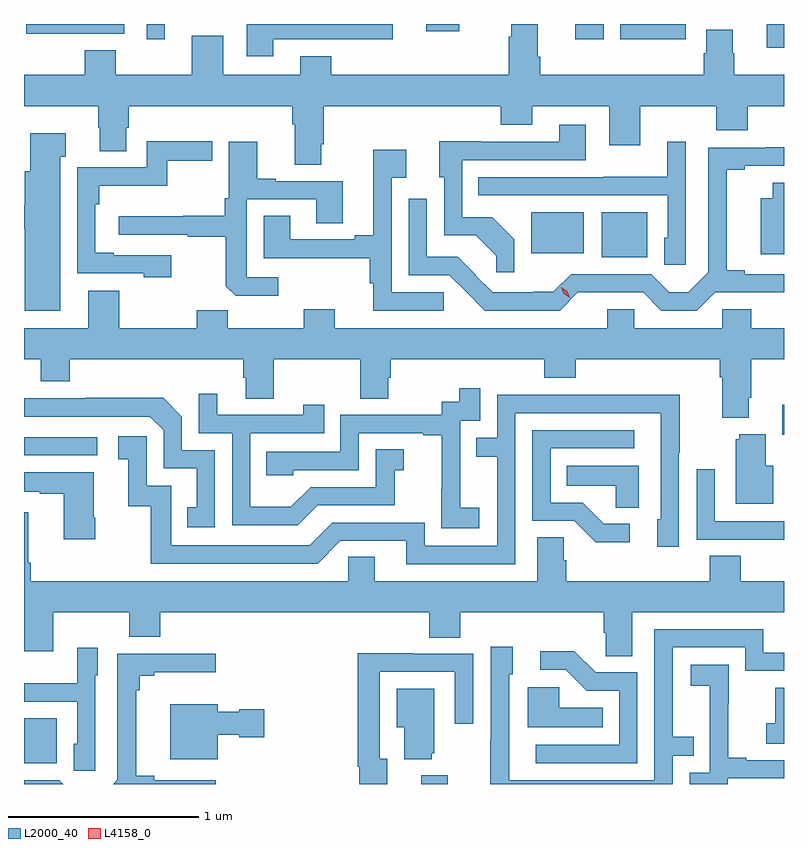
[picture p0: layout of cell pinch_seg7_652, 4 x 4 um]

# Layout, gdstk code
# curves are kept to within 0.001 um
import gdstk
lib = gdstk.Library(unit=1e-6, precision=1e-09)
def R(c, l, rs):  # rectangles x0, y0, x1, y1
    for r in rs: c.add(gdstk.rectangle(r[:2], r[2:], *l))
def P(c, l, *ps):  # polygons
    for p in ps: c.add(gdstk.Polygon(p, *l))
L2000_40 = (2000, 40)
L4158_0 = (4158, 0)

pinch_seg7_652 = lib.new_cell('pinch_seg7_652')
R(pinch_seg7_652, L2000_40, [(219.839,1031.68,219.979,1031.725), (217.749,1031.789,217.921,1032.025), (217.749,1033.41,218.134,1033.506), (221.741,1033.519,221.749,1033.675), (220.79,1034.453,221.029,1034.689), (220.418,1034.474,220.696,1034.689), (221.657,1035.554,221.749,1035.68), (220.887,1035.599,221.232,1035.68), (218.394,1035.6,218.491,1035.68), (220.649,1035.6,220.8,1035.68), (219.867,1035.642,220.039,1035.68)])
P(pinch_seg7_652, L2000_40, [(219.313,1035.046),(219.326,1035.046),(219.326,1035.248),(220.259,1035.248),(220.259,1035.149),(220.423,1035.149),(220.423,1035.248),(220.829,1035.248),(220.829,1035.042),(220.993,1035.042),(220.993,1035.248),(221.393,1035.248),(221.393,1035.12),(221.557,1035.12),(221.557,1035.248),(221.749,1035.248),(221.749,1035.412),(221.487,1035.412),(221.487,1035.525),(221.479,1035.525),(221.479,1035.65),(221.339,1035.65),(221.339,1035.525),(221.327,1035.525),(221.327,1035.412),(220.466,1035.412),(220.466,1035.508),(220.453,1035.508),(220.453,1035.68),(220.313,1035.68),(220.313,1035.614),(220.301,1035.614),(220.301,1035.412),(219.367,1035.412),(219.367,1035.511),(219.203,1035.511),(219.203,1035.412),(218.797,1035.412),(218.797,1035.619),(218.633,1035.619),(218.633,1035.412),(218.233,1035.412),(218.233,1035.541),(218.069,1035.541),(218.069,1035.412),(217.749,1035.412),(217.749,1035.248),(218.14,1035.248),(218.14,1035.135),(218.147,1035.135),(218.147,1035.01),(218.287,1035.01),(218.287,1035.135),(218.3,1035.135),(218.3,1035.248),(219.161,1035.248),(219.161,1035.152),(219.173,1035.152),(219.173,1034.938),(219.313,1034.938)],
  [(217.973,1035.63),(218.277,1035.63),(218.277,1035.68),(217.761,1035.68),(217.761,1035.629),(217.973,1035.629)],
  [(219.061,1035.6),(219.473,1035.6),(219.473,1035.599),(219.691,1035.599),(219.691,1035.68),(218.921,1035.68),(218.921,1035.51),(219.061,1035.51)],
  [(220.329,1034.548),(220.213,1034.664),(220.056,1034.664),(220.056,1034.964),(220.705,1034.964),(220.705,1035.151),(220.565,1035.151),(220.565,1035.06),(220.153,1035.06),(220.153,1035.062),(219.935,1035.062),(219.935,1034.874),(219.96,1034.874),(219.96,1034.568),(220.126,1034.568),(220.234,1034.46),(220.234,1034.373),(220.329,1034.373)],
  [(217.939,1034.981),(217.969,1034.981),(217.969,1035.106),(217.781,1035.106),(217.781,1034.904),(217.754,1034.904),(217.754,1034.725),(217.749,1034.725),(217.749,1034.603),(217.754,1034.603),(217.754,1034.171),(217.939,1034.171)],
  [(218.524,1034.463),(218.221,1034.463),(218.221,1034.476),(218.124,1034.476),(218.124,1034.732),(218.144,1034.732),(218.144,1034.828),(218.503,1034.828),(218.503,1034.959),(218.74,1034.959),(218.74,1035.062),(218.394,1035.062),(218.394,1034.925),(218.028,1034.925),(218.028,1034.367),(218.379,1034.367),(218.379,1034.348),(218.524,1034.348)],
  [(221.232,1035.061),(221.135,1035.061),(221.135,1034.875),(220.801,1034.875),(220.801,1034.874),(220.141,1034.874),(220.141,1034.778),(221.136,1034.778),(221.136,1034.556),(221.12,1034.556),(221.12,1034.413),(221.232,1034.413)],
  [(219.088,1034.346),(218.922,1034.346),(218.922,1034.757),(219.287,1034.757),(219.287,1034.632),(219.427,1034.632),(219.427,1034.853),(219.073,1034.853),(219.073,1034.866),(218.977,1034.866),(218.977,1035.061),(218.826,1035.061),(218.826,1034.764),(218.806,1034.764),(218.806,1034.672),(218.587,1034.672),(218.587,1034.668),(218.247,1034.668),(218.247,1034.571),(218.611,1034.571),(218.611,1034.559),(218.811,1034.559),(218.811,1034.301),(218.863,1034.25),(219.088,1034.25)],
  [(220.664,1034.267),(221.007,1034.268),(221.103,1034.172),(221.29,1034.172),(221.386,1034.268),(221.749,1034.267),(221.749,1034.364),(221.542,1034.364),(221.542,1034.384),(221.447,1034.384),(221.447,1034.914),(221.542,1034.914),(221.542,1034.934),(221.749,1034.934),(221.749,1035.032),(221.653,1035.032),(221.653,1035.03),(221.349,1035.03),(221.349,1034.373),(221.245,1034.269),(221.144,1034.269),(221.049,1034.364),(220.629,1034.364),(220.535,1034.27),(220.43,1034.27),(220.43,1034.268),(220.215,1034.268),(220.125,1034.358),(220.127,1034.36),(220.033,1034.454),(219.87,1034.454),(219.87,1034.761),(219.774,1034.761),(219.774,1034.358),(219.987,1034.358),(220.175,1034.172),(220.569,1034.172)],
  [(219.957,1034.268),(219.684,1034.268),(219.684,1034.87),(219.76,1034.87),(219.76,1035.019),(219.587,1035.019),(219.587,1034.567),(219.491,1034.567),(219.491,1034.547),(219.151,1034.547),(219.151,1034.672),(219.011,1034.672),(219.011,1034.446),(219.568,1034.446),(219.568,1034.315),(219.587,1034.315),(219.587,1034.172),(219.957,1034.172)],
  [(221.749,1034.845),(221.69,1034.845),(221.69,1034.764),(221.627,1034.764),(221.627,1034.468),(221.749,1034.468)],
  [(221.563,1033.714),(221.576,1033.714),(221.576,1033.916),(221.749,1033.916),(221.749,1034.08),(221.576,1034.08),(221.576,1034.178),(221.424,1034.178),(221.424,1034.08),(220.962,1034.08),(220.962,1034.178),(220.82,1034.178),(220.82,1034.08),(219.385,1034.08),(219.385,1034.179),(219.221,1034.179),(219.221,1034.08),(218.821,1034.08),(218.821,1034.173),(218.657,1034.173),(218.657,1034.08),(218.251,1034.08),(218.251,1034.275),(218.087,1034.275),(218.087,1034.08),(217.749,1034.08),(217.749,1033.916),(217.838,1033.916),(217.838,1033.799),(217.991,1033.799),(217.991,1033.916),(218.903,1033.916),(218.903,1033.818),(218.915,1033.818),(218.915,1033.708),(219.063,1033.708),(219.063,1033.916),(219.52,1033.916),(219.52,1033.708),(219.667,1033.708),(219.667,1033.818),(219.68,1033.818),(219.68,1033.916),(220.487,1033.916),(220.487,1033.817),(220.652,1033.817),(220.652,1033.916),(221.411,1033.916),(221.411,1033.82),(221.423,1033.82),(221.423,1033.607),(221.563,1033.607)],
  [(220.144,1033.135),(220.046,1033.135),(220.046,1033.364),(220.044,1033.364),(220.044,1033.593),(220.149,1033.593),(220.149,1033.762),(220.041,1033.762),(220.041,1033.692),(219.948,1033.692),(219.948,1033.623),(219.414,1033.623),(219.414,1033.428),(219.025,1033.428),(219.025,1033.305),(219.165,1033.305),(219.165,1033.332),(219.51,1033.332),(219.51,1033.527),(219.851,1033.527),(219.851,1033.515),(219.947,1033.515),(219.947,1033.231),(219.946,1033.231),(219.946,1033.025),(220.144,1033.025)],
  [(219.295,1033.146),(219.699,1033.146),(219.699,1033.331),(219.748,1033.331),(219.748,1033.441),(219.6,1033.441),(219.6,1033.242),(219.258,1033.242),(219.154,1033.138),(218.94,1033.138),(218.94,1033.527),(219.329,1033.527),(219.329,1033.675),(219.218,1033.675),(219.218,1033.623),(218.767,1033.623),(218.767,1033.735),(218.67,1033.735),(218.67,1033.527),(218.844,1033.527),(218.844,1033.041),(219.19,1033.041)],
  [(220.335,1033.632),(221.1,1033.632),(221.1,1033.074),(221.081,1033.074),(221.081,1032.93),(221.196,1032.93),(221.196,1033.423),(221.199,1033.423),(221.199,1033.73),(220.735,1033.73),(220.735,1033.728),(220.239,1033.728),(220.239,1033.503),(220.129,1033.503),(220.129,1033.402),(220.239,1033.402),(220.239,1032.933),(219.858,1032.933),(219.858,1033.056),(219.372,1033.056),(219.252,1032.936),(218.523,1032.936),(218.523,1033.251),(218.394,1033.251),(218.394,1033.51),(218.244,1033.51),(218.244,1033.389),(218.297,1033.389),(218.297,1033.143),(218.415,1033.143),(218.415,1032.84),(219.294,1032.84),(219.414,1032.96),(219.761,1032.96),(219.761,1032.837),(220.335,1032.837)],
  [(218.754,1033.437),(218.58,1033.437),(218.58,1033.614),(218.482,1033.712),(218.074,1033.712),(218.074,1033.71),(217.749,1033.71),(217.749,1033.614),(218.412,1033.614),(218.484,1033.542),(218.484,1033.341),(218.657,1033.341),(218.657,1033.137),(218.608,1033.137),(218.608,1033.032),(218.754,1033.032)],
  [(220.936,1033.05),(220.801,1033.05),(220.69,1033.161),(220.521,1033.161),(220.521,1033.446),(220.96,1033.446),(220.96,1033.542),(220.425,1033.542),(220.425,1033.065),(220.644,1033.065),(220.757,1032.953),(220.936,1032.953)],
  [(221.692,1033.354),(221.653,1033.354),(221.653,1033.522),(221.514,1033.522),(221.514,1033.494),(221.495,1033.494),(221.495,1033.154),(221.692,1033.154)],
  [(220.984,1033.354),(220.606,1033.354),(220.606,1033.25),(220.863,1033.25),(220.863,1033.135),(220.984,1033.135)],
  [(221.749,1033.062),(221.385,1033.062),(221.385,1033.336),(221.289,1033.336),(221.289,1032.966),(221.605,1032.966),(221.605,1032.965),(221.749,1032.965)],
  [(218.124,1033.081),(218.116,1033.081),(218.116,1033.321),(217.749,1033.321),(217.749,1033.217),(217.832,1033.217),(217.832,1033.207),(217.958,1033.207),(217.958,1032.969),(218.124,1032.969)],
  [(220.951,1032.584),(221.749,1032.584),(221.749,1032.748),(221.522,1032.748),(221.522,1032.881),(221.357,1032.881),(221.357,1032.748),(220.604,1032.748),(220.604,1032.857),(220.59,1032.857),(220.59,1032.98),(220.451,1032.98),(220.451,1032.748),(219.595,1032.748),(219.595,1032.875),(219.456,1032.875),(219.456,1032.748),(217.784,1032.748),(217.784,1032.844),(217.771,1032.844),(217.771,1033.111),(217.749,1033.111),(217.749,1032.378),(217.903,1032.378),(217.903,1032.584),(218.303,1032.584),(218.303,1032.456),(218.467,1032.456),(218.467,1032.584),(219.881,1032.584),(219.881,1032.451),(220.046,1032.451),(220.046,1032.584),(220.799,1032.584),(220.799,1032.475),(220.812,1032.475),(220.812,1032.352),(220.951,1032.352)],
  [(221.163,1031.829),(221.273,1031.829),(221.273,1031.93),(221.163,1031.93),(221.163,1032.399),(221.544,1032.399),(221.544,1032.276),(221.749,1032.276),(221.749,1032.372),(221.641,1032.372),(221.641,1032.495),(221.067,1032.495),(221.067,1031.7),(220.303,1031.7),(220.303,1031.933),(220.302,1031.933),(220.302,1032.258),(220.321,1032.258),(220.321,1032.403),(220.206,1032.403),(220.206,1031.909),(220.204,1031.909),(220.204,1031.68),(221.163,1031.68)],
  [(218.124,1032.252),(218.137,1032.252),(218.137,1032.397),(218.028,1032.397),(218.028,1032.211),(217.749,1032.211),(217.749,1032.114),(218.028,1032.114),(218.028,1031.892),(218.012,1031.892),(218.012,1031.749),(218.124,1031.749)],
  [(220.977,1032.267),(220.758,1032.267),(220.645,1032.38),(220.467,1032.38),(220.467,1032.282),(220.601,1032.282),(220.712,1032.171),(220.881,1032.171),(220.881,1031.886),(220.443,1031.886),(220.443,1031.79),(220.977,1031.79)],
  [(219.661,1031.814),(219.621,1031.814),(219.621,1032.27),(220.017,1032.27),(220.017,1031.997),(220.113,1031.997),(220.113,1032.366),(219.797,1032.366),(219.797,1032.368),(219.505,1032.368),(219.505,1031.77),(219.513,1031.77),(219.513,1031.68),(219.661,1031.68)],
  [(218.758,1031.7),(218.434,1031.7),(218.434,1031.723),(218.339,1031.723),(218.339,1032.173),(218.357,1032.173),(218.357,1032.25),(218.434,1032.25),(218.434,1032.269),(218.758,1032.269),(218.758,1032.366),(218.241,1032.366),(218.241,1031.703),(218.218,1031.68),(218.758,1031.68)],
  [(221.454,1031.709),(221.749,1031.709),(221.749,1031.805),(221.551,1031.805),(221.551,1031.818),(221.456,1031.818),(221.456,1032.101),(221.457,1032.101),(221.457,1032.307),(221.259,1032.307),(221.259,1032.197),(221.357,1032.197),(221.357,1031.969),(221.358,1031.969),(221.358,1031.739),(221.253,1031.739),(221.253,1031.68),(221.454,1031.68)],
  [(220.796,1032.082),(220.566,1032.082),(220.566,1032.19),(220.4,1032.19),(220.4,1031.978),(220.796,1031.978)],
  [(221.749,1032.186),(221.704,1032.186),(221.704,1032.001),(221.655,1032.001),(221.655,1031.892),(221.749,1031.892)],
  [(219.896,1031.841),(219.907,1031.841),(219.907,1032.181),(219.71,1032.181),(219.71,1031.978),(219.749,1031.978),(219.749,1031.81),(219.896,1031.81)],
  [(218.77,1031.939),(218.883,1031.939),(218.883,1031.927),(219.013,1031.927),(219.013,1032.074),(218.883,1032.074),(218.883,1032.061),(218.77,1032.061),(218.77,1032.1),(218.519,1032.1),(218.519,1031.81),(218.77,1031.81)],
  [(217.935,1031.7),(217.749,1031.7),(217.749,1031.68),(217.955,1031.68)])
P(pinch_seg7_652, L4158_0, [(220.622,1034.239),(220.591,1034.26),(220.576,1034.294),(220.576,1034.295),(220.576,1034.295),(220.607,1034.273),(220.622,1034.24),(220.622,1034.239)])

lib.write_gds('pinch_seg7_652.gds')
